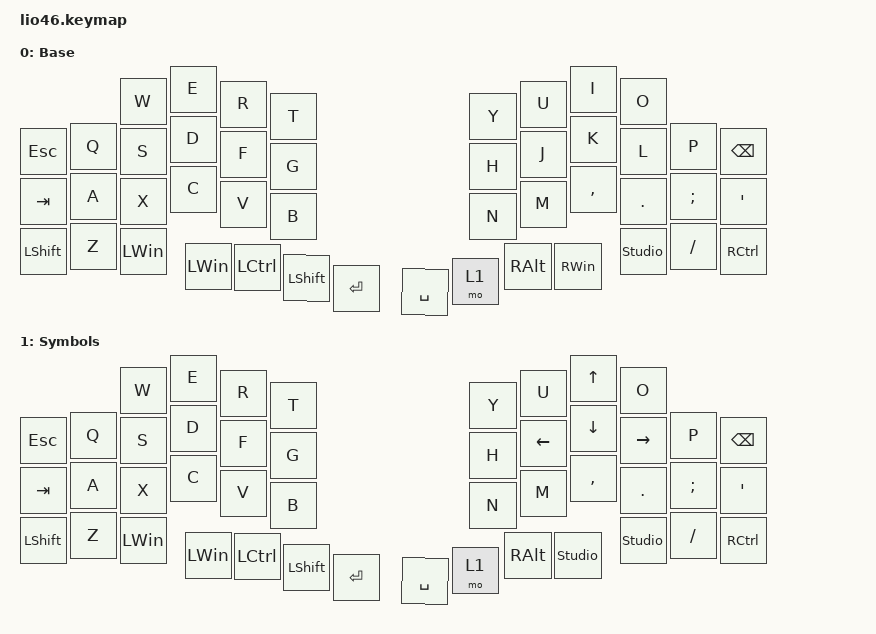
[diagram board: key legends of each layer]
#include <behaviors.dtsi>
#include <dt-bindings/zmk/keys.h>
#include <dt-bindings/zmk/bt.h>

/ {
        keymap {
                compatible = "zmk,keymap";
                base {
                        label = "BASE";
                        display-name = "Base";
                        bindings = <
        &kp ESC   &kp Q     &kp W     &kp E     &kp R      &kp T                          &kp Y  &kp U     &kp I      &kp O    &kp P     &kp BSPC
        &kp TAB   &kp A     &kp S     &kp D     &kp F      &kp G                          &kp H  &kp J     &kp K      &kp L    &kp SEMI  &kp SQT
        &kp LSHFT &kp Z     &kp X     &kp C     &kp V      &kp B                          &kp N  &kp M     &kp COMMA  &kp DOT  &kp FSLH  &kp RCTRL
                            &kp LWIN  &kp LWIN  &kp LCTRL  &kp LSHFT  &kp RET   &kp SPACE &mo 1  &kp RALT  &kp RWIN   &studio_unlock
                        >;
                                // | ESC  |  Q  |  W  |  E  |  R  |                |  Y  |  U  |  I  |  O  |  P  |  <-  |
                                // | TAB  |  A  |  S  |  D  |  F  |                |  H  |  J  |  K  |  L  |  ;  |  '   |
                                // | LSHFT|  Z  |  X  |  C  |  V  |                |  N  |  M  |  ,  |  .  |  /  | RCTRL|
                                //              | LWIN|LCTRL|LSHFT| ENT |    | SPC | MO1 |RALT |RWIN |unlk |
                };

                sym {
                        label = "SYM";
                        display-name = "Symbols";
                        bindings = <
        &kp ESC   &kp Q     &kp W     &kp E     &kp R      &kp T                          &kp Y  &kp U     &kp UP     &kp O     &kp P     &kp BSPC
        &kp TAB   &kp A     &kp S     &kp D     &kp F      &kp G                          &kp H  &kp LEFT  &kp DOWN   &kp RIGHT &kp SEMI  &kp SQT
        &kp LSHFT &kp Z     &kp X     &kp C     &kp V      &kp B                          &kp N  &kp M     &kp COMMA  &kp DOT   &kp FSLH  &kp RCTRL
                            &kp LWIN  &kp LWIN  &kp LCTRL  &kp LSHFT  &kp RET   &kp SPACE &mo 1  &kp RALT  &studio_unlock   &studio_unlock
                        >;
                                // | ESC  |  Q  |  W  |  E  |  R  |                |  Y  |  U  |  I  |  O  |  P  |  <-  |
                                // | TAB  |  A  |  S  |  D  |  F  |                |  H  |  J  |  K  |  L  |  ;  |  '   |
                                // | LSHFT|  Z  |  X  |  C  |  V  |                |  N  |  M  |  ,  |  .  |  /  | RCTRL|
                                //              | LWIN|LCTRL|LSHFT| ENT |    | SPC | MO1 |RALT | unl | unl |
                };
                num {
                        status = "reserved";
                };
                settings {
                        status = "reserved";
                };
        };
};
